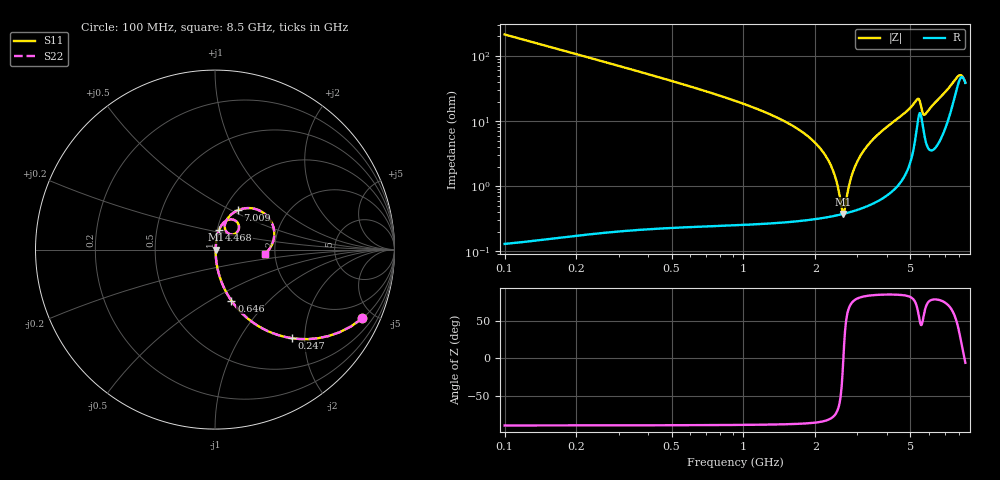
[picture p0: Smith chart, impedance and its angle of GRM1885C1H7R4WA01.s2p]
!Murata Part Number: GRM1885C1H7R4WA01
!These Parameters are Measured in Series Mode Connection
!Data Generated on Mar 30, 2021
!  o--ll--o
!Port1  Port2
!  o------o
!Operation Temp=25[degC], DC Bias Voltage=0[V]
!Freq. Start=100[MHz] Stop=9[GHz] 401[Steps]
# Hz S RI R 50
!Freq.(Hz) S11(Real) S11(Imag) S21(Real) S21(Imag) S12(Real) S12(Imag) S22(Real) S22(Imag)
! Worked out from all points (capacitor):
!   401 points, 100 MHz to 8.5 GHz, reference 50 ohm
!   read as one part in series: C = 7.4 pF near 142 MHz
!   lowest |Z| = 374 mohm at 2.62 GHz (marker M1)
!   series resonance near 2.621 GHz, so ESL is about 500 pH
!   S11 on the Smith chart (normalised r, x): 100 MHz: 1.00, -4.29; 247 MHz: 1.00, -1.73; 646 MHz: 1.00, -0.63; 4.468 GHz: 1.02, +0.22; 7.009 GHz: 1.16, +0.54; 8.5 GHz: 1.77, -0.08
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1e8  0.8216 -0.3825  0.1784 0.3825  0.1784 0.3825  0.8216 -0.3825
2.47e8  0.4268 -0.4935  0.5732 0.4935  0.5732 0.4935  0.4268 -0.4935
4.15e8  0.2044 -0.4011  0.7956 0.4011  0.7956 0.4011  0.2044 -0.4011
6.46e8  0.0911 -0.2839  0.9089 0.2839  0.9089 0.2839  0.0911 -0.2839
1.507e9  0.012 -0.0954  0.988 0.0954  0.988 0.0954  0.012 -0.0954
1.948e9  0.00559 -0.0501  0.9944 0.0501  0.9944 0.0501  0.00559 -0.0501
2.242e9  0.00401 -0.0264  0.996 0.0264  0.996 0.0264  0.00401 -0.0264
2.431e9  0.00367 -0.0128  0.9963 0.0128  0.9963 0.0128  0.00367 -0.0128
2.578e9  0.00368 -0.00284  0.9963 0.00284  0.9963 0.00284  0.00368 -0.00284
2.62e9  0.00373 -8.57e-05  0.9963 8.57e-05  0.9963 8.57e-05  0.00373 -8.57e-05
2.662e9  0.00379 0.00263  0.9962 -0.00263  0.9962 -0.00263  0.00379 0.00263
2.788e9  0.00407 0.0106  0.9959 -0.0106  0.9959 -0.0106  0.00407 0.0106
2.914e9  0.00449 0.0183  0.9955 -0.0183  0.9955 -0.0183  0.00449 0.0183
3.397e9  0.00727 0.0463  0.9927 -0.0463  0.9927 -0.0463  0.00727 0.0463
4.3e9  0.0187 0.0978  0.9813 -0.0978  0.9813 -0.0978  0.0187 0.0978
4.468e9  0.0224 0.1082  0.9776 -0.1082  0.9776 -0.1082  0.0224 0.1082
5.35e9  0.1108 0.1628  0.8892 -0.1628  0.8892 -0.1628  0.1108 0.1628
5.707e9  0.0695 0.0938  0.9305 -0.0938  0.9305 -0.0938  0.0695 0.0938
7.009e9  0.1274 0.2191  0.8726 -0.2191  0.8726 -0.2191  0.1274 0.2191
7.114e9  0.1422 0.2246  0.8578 -0.2246  0.8578 -0.2246  0.1422 0.2246
7.933e9  0.3101 0.161  0.6899 -0.161  0.6899 -0.161  0.3101 0.161
8.5e9  0.2799 -0.0218  0.7201 0.0218  0.7201 0.0218  0.2799 -0.0218
